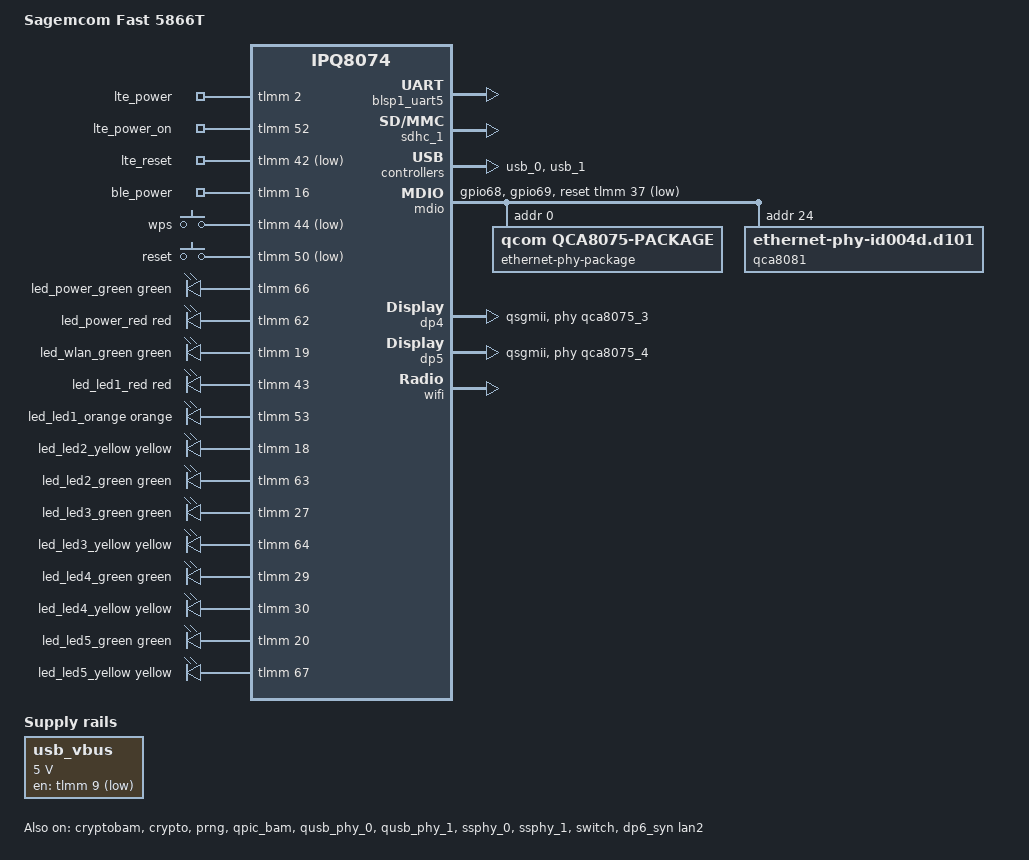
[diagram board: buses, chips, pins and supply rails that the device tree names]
// SPDX-License-Identifier: GPL-2.0-or-later OR MIT

/dts-v1/;

#include "ipq8074.dtsi"
#include "ipq8074-hk-cpu.dtsi"
#include "ipq8074-ess.dtsi"
#include <dt-bindings/gpio/gpio.h>
#include <dt-bindings/input/input.h>
#include <dt-bindings/leds/common.h>

/ {
	model = "Sagemcom Fast 5866T";
	compatible = "sagemcom,5866t", "qcom,ipq8074";

	aliases {
		led-boot = &led_power_green;
		led-failsafe = &led_power_red;
		led-running = &led_power_green;
		led-upgrade = &led_power_red;
		serial0 = &blsp1_uart5;
		/*
		 * Aliases as required by u-boot
		 * to patch MAC addresses
		 */
		ethernet3 = &dp4;
		ethernet4 = &dp5;
        ethernet5 = &dp6;
		label-mac-device = &dp4;
	};

	chosen {
		stdout-path = "serial0:115200n8";
		bootargs-append = " swiotlb=1 coherent_pool=2M";
	};

	gpio-export {
		compatible = "gpio-export";

		lte-power {
			gpio-export,name = "lte_power";
			gpio-export,output = <1>;
			gpios = <&tlmm 2 GPIO_ACTIVE_HIGH>;
		};

		lte-power-on {
			gpio-export,name = "lte_power_on";
			gpio-export,output = <1>;
			gpios = <&tlmm 52 GPIO_ACTIVE_HIGH>;
		};

		lte-reset {
			gpio-export,name = "lte_reset";
			gpio-export,output = <0>;
			gpios = <&tlmm 42 GPIO_ACTIVE_LOW>;
		};

		ble-power {
			gpio-export,name = "ble_power";
			gpio-export,output = <1>;
			gpios = <&tlmm 16 GPIO_ACTIVE_HIGH>;
		};
	};

	keys {
		compatible = "gpio-keys";

		wps {
			label = "wps";
			linux,code = <KEY_WPS_BUTTON>;
			gpios = <&tlmm 44 GPIO_ACTIVE_LOW>;
		};

		reset {
			label = "reset";
			linux,code = <KEY_RESTART>;
			gpios = <&tlmm 50 GPIO_ACTIVE_LOW>;
		};
	};

	leds {
		compatible = "gpio-leds";

		led_power_green: power_green {
			function = LED_FUNCTION_POWER;
			color = <LED_COLOR_ID_GREEN>;
			gpios = <&tlmm 66 GPIO_ACTIVE_HIGH>;
		};

		led_power_red: power_red {
			function = LED_FUNCTION_POWER;
			color = <LED_COLOR_ID_RED>;
			gpios = <&tlmm 62 GPIO_ACTIVE_HIGH>;
		};

		led_wlan_green: wlan_green {
			function = LED_FUNCTION_WLAN;
			color = <LED_COLOR_ID_GREEN>;
			gpios = <&tlmm 19 GPIO_ACTIVE_HIGH>;
		};

        led_led1_red: led1_red {
            function = "status";
            color = <LED_COLOR_ID_RED>;
            gpios = <&tlmm 43 GPIO_ACTIVE_HIGH>; // LED1_R
        };

        led_led1_orange: led1_orange {
            function = "status";
            color = <LED_COLOR_ID_ORANGE>;
            gpios = <&tlmm 53 GPIO_ACTIVE_HIGH>; // LED1_O
        };

        led_led2_yellow: led2_yellow {
            function = "status";
            color = <LED_COLOR_ID_YELLOW>;
            gpios = <&tlmm 18 GPIO_ACTIVE_HIGH>; // LED2_Y
        };

        led_led2_green: led2_green {
            function = "status";
            color = <LED_COLOR_ID_GREEN>;
            gpios = <&tlmm 63 GPIO_ACTIVE_HIGH>; // LED2_G
        };

        led_led3_green: led3_green {
            function = "status";
            color = <LED_COLOR_ID_GREEN>;
            gpios = <&tlmm 27 GPIO_ACTIVE_HIGH>; // LED3_G
        };

        led_led3_yellow: led3_yellow {
            function = "status";
            color = <LED_COLOR_ID_YELLOW>;
            gpios = <&tlmm 64 GPIO_ACTIVE_HIGH>; // LED3_Y
        };

        led_led4_green: led4_green {
            function = "status";
            color = <LED_COLOR_ID_GREEN>;
            gpios = <&tlmm 29 GPIO_ACTIVE_HIGH>; // LED4_G
        };

        led_led4_yellow: led4_yellow {
            function = "status";
            color = <LED_COLOR_ID_YELLOW>;
            gpios = <&tlmm 30 GPIO_ACTIVE_HIGH>; // LED4_Y
        };

        led_led5_green: led5_green {
            function = "status";
            color = <LED_COLOR_ID_GREEN>;
            gpios = <&tlmm 20 GPIO_ACTIVE_HIGH>; // LED5_G
        };

        led_led5_yellow: led5_yellow {
            function = "status";
            color = <LED_COLOR_ID_YELLOW>;
            gpios = <&tlmm 67 GPIO_ACTIVE_HIGH>; // LED5_Y
        };
	};

	usb_vbus: regulator-usb-vbus {
		compatible = "regulator-fixed";
		regulator-name = "usb_vbus";
		regulator-min-microvolt = <5000000>;
		regulator-max-microvolt = <5000000>;
		gpio = <&tlmm 9 GPIO_ACTIVE_HIGH>;
		regulator-boot-on;
	};
};

&tlmm {
	mdio_pins: mdio-pins {
		mdc {
			pins = "gpio68";
			function = "mdc";
			drive-strength = <8>;
			bias-pull-up;
		};

		mdio {
			pins = "gpio69";
			function = "mdio";
			drive-strength = <8>;
			bias-pull-up;
		};
	};
};

&blsp1_uart5 {
	status = "okay";
};

&cryptobam {
	status = "okay";
};

&crypto {
	status = "okay";
};

&prng {
	status = "okay";
};

&qpic_bam {
	status = "okay";
};

&sdhc_1 {
	/* Following same rule as QNAP 301W
	 * the emmc has a problem with the hs400 > hs200 speed switch.
	 * Therefore remove the mmc-hs400-1_8v property
	*/
	/delete-property/ mmc-hs400-1_8v;
	mmc-hs200-1_8v;
	mmc-ddr-1_8v;
	vqmmc-supply = <&l11>;
	status = "okay";
};

&qusb_phy_0 {
	status = "okay";

	vdd-supply = <&usb_vbus>;
};

&qusb_phy_1 {
	status = "okay";

	vdd-supply = <&usb_vbus>;
};

&ssphy_0 {
	status = "okay";
};

&ssphy_1 {
	status = "okay";
};

&usb_0 {
	status = "okay";
};

&usb_1 {
	status = "okay";
};

&mdio {
	status = "okay";

	pinctrl-0 = <&mdio_pins>;
	pinctrl-names = "default";
	reset-gpios = <&tlmm 37 GPIO_ACTIVE_LOW>;

	ethernet-phy-package@0 {
		compatible = "qcom,qca8075-package";
		#address-cells = <1>;
		#size-cells = <0>;
		reg = <0>;

		qcom,package-mode = "qsgmii";

		qca8075_3: ethernet-phy@3 {
			compatible = "ethernet-phy-ieee802.3-c22";
			reg = <3>;
		};

		qca8075_4: ethernet-phy@4 {
			compatible = "ethernet-phy-ieee802.3-c22";
			reg = <4>;
		};
	};

	qca8081: ethernet-phy@24 {
		compatible = "ethernet-phy-id004d.d101";
		reg = <24>;
		reset-deassert-us = <10000>;
	};
};

&switch {
	status = "okay";

	switch_lan_bmp = <(ESS_PORT4 | ESS_PORT5)>; /* lan port bitmap */
	switch_wan_bmp = <ESS_PORT6>; /* wan port bitmap */
	switch_mac_mode = <MAC_MODE_QSGMII>; /* mac mode for uniphy instance0*/

	qcom,port_phyinfo {
		port@1 {
			port_id = <1>;
			phy_address = <3>;
		};
		port@2 {
			port_id = <2>;
			phy_address = <4>;
		};
		port@6 {
			port_id = <6>;
			phy_address = <24>;
			port_mac_sel = "QGMAC_PORT";
		};
	};
};

&edma {
	status = "okay";
};

&dp4 {
	status = "okay";
	phy-mode = "qsgmii";
	phy-handle = <&qca8075_3>;
	label = "lan1";
};

&dp5 {
	status = "okay";
	phy-mode = "qsgmii";
	phy-handle = <&qca8075_4>;
	label = "wan";
};

&dp6_syn {
	status = "okay";
	phy-handle = <&qca8081>;
	label = "lan2";
};

&wifi {
	status = "okay";

	qcom,ath11k-calibration-variant = "Sagemcom_5866T";
};
